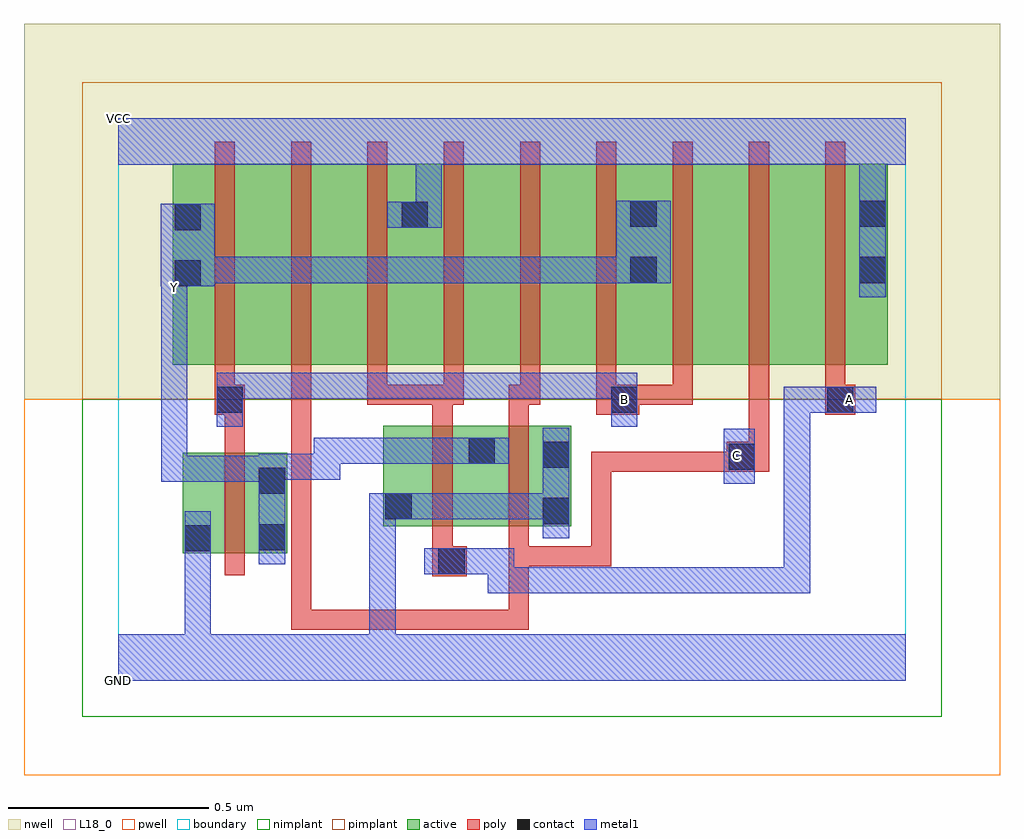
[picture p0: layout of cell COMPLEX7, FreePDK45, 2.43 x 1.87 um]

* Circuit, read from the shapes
.subckt COMPLEX7 A B C GND VCC Y
M1 Y B GND VSUBS nfet w=0.25u l=0.05u
M2 Y A GND VSUBS nfet w=0.25u l=0.05u
M3 GND C Y VSUBS nfet w=0.25u l=0.05u
M4 n1 B Y n2 pfet w=0.5u l=0.05u
M5 n3 C n1 n2 pfet w=0.5u l=0.05u
M6 VCC A n3 n2 pfet w=0.5u l=0.05u
M7 n4 A VCC n2 pfet w=0.5u l=0.05u
M8 n5 C n4 n2 pfet w=0.5u l=0.05u
M9 Y B n5 n2 pfet w=0.5u l=0.05u
M10 n6 B Y n2 pfet w=0.5u l=0.05u
M11 n7 C n6 n2 pfet w=0.5u l=0.05u
M12 VCC A n7 n2 pfet w=0.5u l=0.05u
.ends

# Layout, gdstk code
import gdstk
lib = gdstk.Library(unit=1e-6, precision=1e-09)
def R(c, l, rs):  # rectangles x0, y0, x1, y1
    for r in rs: c.add(gdstk.rectangle(r[:2], r[2:], *l))
def A(c, l, x, y, w, h, nx, ny, dx, dy):  # array of equal rectangles
    R(c, l, [(x+i*dx, y+j*dy, x+i*dx+w, y+j*dy+h) for i in range(nx) for j in range(ny)])
active = (1, 0)
pwell = (2, 0)
nwell = (3, 0)
nimplant = (4, 0)
pimplant = (5, 0)
poly = (9, 0)
contact = (10, 0)
metal1 = (11, 0)
L18_0 = (18, 0)
boundary = (235, 0)

complex7 = lib.new_cell('COMPLEX7')
A(complex7, active, 0.36, 0.787, 0.19, 0.5, 3, 1, 0.57, 0)
A(complex7, active, 0.55, 0.787, 0.225, 0.5, 3, 1, 0.57, 0)
R(complex7, active, [(0.16,0.317,0.235,0.567), (0.16,0.317,0.42,0.567), (0.345,0.32,0.42,0.567), (0.66,0.385,0.735,0.635), (0.66,0.385,0.942,0.635), (0.867,0.385,1.127,0.635), (1.052,0.385,1.127,0.635), (0.867,0.395,0.942,0.61), (0.135,0.787,0.36,1.287), (0.135,0.787,0.24,1.2), (0.7,0.787,0.93,1.287), (1.27,0.787,1.5,1.287), (1.84,0.787,1.915,1.255), (0.7,0.807,0.775,1.255), (1.27,0.807,1.345,1.2)])
R(complex7, pwell, [(-0.235,-0.235,2.195,0.7)])
R(complex7, nwell, [(-0.235,0.7,2.195,1.635)])
R(complex7, nimplant, [(-0.09,-0.09,2.05,0.7)])
R(complex7, pimplant, [(-0.09,0.7,2.05,1.49)])
A(complex7, poly, 0.24, 0.687, 0.05, 0.095, 7, 1, 0.19, 0)
A(complex7, poly, 0.24, 0.732, 0.05, 0.61, 9, 1, 0.19, 0)
R(complex7, poly, [(0.43,0.127,0.48,0.737), (0.43,0.127,0.48,0.177), (0.43,0.127,0.48,0.177), (0.43,0.127,0.48,0.177), (0.43,0.127,0.612,0.177), (0.562,0.127,0.612,0.177), (0.562,0.127,0.612,0.177), (0.562,0.127,0.612,0.177), (0.562,0.127,0.89,0.177), (0.84,0.127,0.89,0.177), (0.84,0.127,0.89,0.177), (0.84,0.127,0.89,0.177), (0.84,0.127,1.022,0.177), (0.972,0.127,1.022,0.177), (0.972,0.127,1.022,0.335), (0.782,0.26,0.867,0.335), (0.265,0.262,0.315,0.622), (0.782,0.285,0.832,0.38), (0.972,0.285,1.022,0.38), (0.972,0.285,1.022,0.335), (0.972,0.285,1.022,0.335), (0.972,0.285,1.022,0.335), (0.972,0.285,1.227,0.335), (1.177,0.285,1.227,0.335), (1.177,0.285,1.227,0.57), (0.782,0.33,0.832,0.69), (0.972,0.33,1.022,0.69), (1.177,0.52,1.227,0.57), (1.177,0.52,1.227,0.57), (1.177,0.52,1.227,0.57), (1.177,0.52,1.432,0.57), (1.382,0.52,1.432,0.57), (1.382,0.52,1.565,0.57), (1.515,0.52,1.565,0.57), (1.515,0.52,1.565,0.57), (1.515,0.52,1.565,0.57), (1.515,0.52,1.565,0.57), (1.515,0.52,1.565,0.57), (1.515,0.52,1.565,0.57), (1.515,0.52,1.62,0.595), (1.57,0.545,1.62,0.782), (0.265,0.572,0.315,0.712), (0.782,0.64,0.832,0.737), (0.972,0.64,1.022,0.737), (0.24,0.662,0.315,0.737), (1.19,0.662,1.297,0.737), (1.76,0.662,1.835,0.737), (0.43,0.687,0.48,0.737), (0.43,0.687,0.48,0.737), (0.43,0.687,0.48,0.737), (0.43,0.687,0.48,0.737), (0.43,0.687,0.48,0.737), (0.43,0.687,0.48,0.737), (0.43,0.687,0.48,0.737), (0.62,0.687,0.67,0.737), (0.62,0.687,0.67,0.737), (0.62,0.687,0.67,0.737), (0.62,0.687,0.832,0.737), (0.782,0.687,0.86,0.737), (0.972,0.687,1.05,0.737), (1.247,0.687,1.43,0.737), (1.38,0.687,1.43,0.737), (1.38,0.687,1.43,0.737), (1.38,0.687,1.43,0.737), (1.76,0.687,1.81,0.782)])
R(complex7, contact, [(0.797,0.265,0.862,0.33), (0.165,0.322,0.23,0.387), (0.35,0.325,0.415,0.39), (1.057,0.39,1.122,0.455), (0.665,0.402,0.73,0.467), (0.35,0.465,0.415,0.53), (1.52,0.525,1.585,0.59), (1.057,0.53,1.122,0.595), (0.872,0.54,0.937,0.605), (0.245,0.667,0.31,0.732), (1.227,0.667,1.292,0.732), (1.765,0.667,1.83,0.732), (0.14,0.982,0.205,1.047), (1.275,0.99,1.34,1.055), (1.845,0.99,1.91,1.055), (0.14,1.122,0.205,1.187), (0.705,1.127,0.77,1.192), (1.275,1.13,1.34,1.195), (1.845,1.13,1.91,1.195)])
R(complex7, metal1, [(0,0,1.96,0.115), (0.165,0.05,0.23,0.115), (0.165,0.05,0.23,0.115), (0.165,0.05,0.23,0.115), (0.165,0.05,0.23,0.115), (0.165,0.05,0.23,0.115), (0.165,0.05,0.23,0.115), (0.165,0.05,0.23,0.352), (0.625,0.05,0.69,0.115), (0.625,0.05,0.69,0.115), (0.625,0.05,0.69,0.467), (0.92,0.217,1.155,0.282), (0.92,0.217,0.985,0.33), (1.09,0.217,1.155,0.282), (1.09,0.217,1.155,0.282), (1.09,0.217,1.155,0.282), (1.09,0.217,1.297,0.282), (1.232,0.217,1.297,0.282), (1.232,0.217,1.435,0.282), (1.37,0.217,1.435,0.282), (1.37,0.217,1.435,0.282), (1.37,0.217,1.435,0.282), (1.37,0.217,1.435,0.282), (1.37,0.217,1.435,0.282), (1.37,0.217,1.435,0.282), (1.37,0.217,1.435,0.282), (1.37,0.217,1.572,0.282), (1.507,0.217,1.572,0.282), (1.507,0.217,1.572,0.282), (1.507,0.217,1.572,0.282), (1.507,0.217,1.722,0.282), (1.657,0.217,1.722,0.732), (1.657,0.217,1.722,0.282), (0.762,0.265,0.897,0.33), (0.832,0.265,0.985,0.33), (0.165,0.287,0.23,0.422), (0.35,0.29,0.415,0.565), (1.057,0.355,1.122,0.63), (0.625,0.402,0.69,0.467), (0.625,0.402,0.69,0.467), (0.625,0.402,0.69,0.467), (0.625,0.402,0.69,0.467), (0.625,0.402,0.765,0.467), (0.7,0.402,0.985,0.467), (0.92,0.402,0.985,0.467), (0.92,0.402,0.985,0.467), (0.92,0.402,0.985,0.467), (0.92,0.402,1.122,0.467), (1.057,0.402,1.122,0.467), (1.057,0.402,1.122,0.467), (1.507,0.49,1.585,0.627), (0.107,0.495,0.172,0.56), (0.107,0.495,0.415,0.56), (0.107,0.495,0.172,0.977), (0.35,0.495,0.415,0.56), (0.35,0.495,0.415,0.56), (0.35,0.5,0.552,0.565), (0.487,0.5,0.552,0.605), (0.487,0.54,0.552,0.605), (0.487,0.54,0.552,0.605), (0.487,0.54,0.69,0.605), (0.625,0.54,0.69,0.605), (0.625,0.54,0.69,0.605), (0.625,0.54,0.69,0.605), (0.625,0.54,0.902,0.605), (0.837,0.54,0.902,0.605), (0.837,0.54,0.902,0.605), (0.837,0.54,0.972,0.605), (0.245,0.632,0.31,0.767), (1.227,0.632,1.292,0.767), (1.657,0.667,1.795,0.732), (1.657,0.667,1.722,0.732), (1.73,0.667,1.887,0.732), (0.245,0.702,0.415,0.767), (0.35,0.702,0.415,0.767), (0.35,0.702,0.552,0.767), (0.487,0.702,0.552,0.767), (0.487,0.702,0.552,0.767), (0.487,0.702,0.552,0.767), (0.487,0.702,0.69,0.767), (0.625,0.702,0.69,0.767), (0.625,0.702,0.69,0.767), (0.625,0.702,0.69,0.767), (0.625,0.702,0.985,0.767), (0.92,0.702,0.985,0.767), (0.92,0.702,0.985,0.767), (0.92,0.702,0.985,0.767), (0.92,0.702,1.155,0.767), (1.09,0.702,1.155,0.767), (1.09,0.702,1.155,0.767), (1.09,0.702,1.155,0.767), (1.09,0.702,1.292,0.767), (0.107,0.912,0.172,1.047), (1.845,0.955,1.91,1.23), (0.105,0.982,0.24,1.187), (0.107,0.982,0.172,1.047), (0.175,0.99,0.377,1.055), (0.312,0.99,0.377,1.055), (0.312,0.99,0.377,1.055), (0.312,0.99,0.377,1.055), (0.312,0.99,0.552,1.055), (0.487,0.99,0.552,1.055), (0.487,0.99,0.552,1.055), (0.487,0.99,0.552,1.055), (0.487,0.99,0.69,1.055), (0.625,0.99,0.69,1.055), (0.625,0.99,0.69,1.055), (0.625,0.99,0.69,1.055), (0.625,0.99,0.935,1.055), (0.87,0.99,0.935,1.055), (0.87,0.99,0.935,1.055), (0.87,0.99,0.935,1.055), (0.87,0.99,1.155,1.055), (1.09,0.99,1.155,1.055), (1.09,0.99,1.155,1.055), (1.09,0.99,1.155,1.055), (1.09,0.99,1.297,1.055), (1.232,0.99,1.297,1.055), (1.232,0.99,1.305,1.055), (1.24,0.99,1.375,1.195), (0.67,1.127,0.805,1.192), (0.74,1.127,0.805,1.35), (1.845,1.165,1.91,1.35), (0,1.285,1.96,1.4)])
R(complex7, L18_0, [(0,0,1.96,0.115), (0.165,0.05,0.23,0.115), (0.165,0.05,0.23,0.115), (0.165,0.05,0.23,0.115), (0.165,0.05,0.23,0.115), (0.165,0.05,0.23,0.115), (0.165,0.05,0.23,0.115), (0.165,0.05,0.23,0.352), (0.625,0.05,0.69,0.115), (0.625,0.05,0.69,0.115), (0.625,0.05,0.69,0.467), (0.92,0.217,0.985,0.33), (0.92,0.217,1.155,0.282), (1.09,0.217,1.155,0.282), (1.09,0.217,1.155,0.282), (1.09,0.217,1.155,0.282), (1.09,0.217,1.297,0.282), (1.232,0.217,1.297,0.282), (1.232,0.217,1.435,0.282), (1.37,0.217,1.435,0.282), (1.37,0.217,1.435,0.282), (1.37,0.217,1.435,0.282), (1.37,0.217,1.435,0.282), (1.37,0.217,1.435,0.282), (1.37,0.217,1.435,0.282), (1.37,0.217,1.435,0.282), (1.37,0.217,1.572,0.282), (1.507,0.217,1.572,0.282), (1.507,0.217,1.572,0.282), (1.507,0.217,1.572,0.282), (1.507,0.217,1.722,0.282), (1.657,0.217,1.722,0.282), (1.657,0.217,1.722,0.732), (0.762,0.265,0.897,0.33), (0.832,0.265,0.985,0.33), (0.165,0.287,0.23,0.422), (0.35,0.29,0.415,0.565), (1.057,0.355,1.122,0.63), (0.625,0.402,0.69,0.467), (0.625,0.402,0.69,0.467), (0.625,0.402,0.69,0.467), (0.625,0.402,0.69,0.467), (0.625,0.402,0.765,0.467), (0.7,0.402,0.985,0.467), (0.92,0.402,0.985,0.467), (0.92,0.402,0.985,0.467), (0.92,0.402,0.985,0.467), (0.92,0.402,1.122,0.467), (1.057,0.402,1.122,0.467), (1.057,0.402,1.122,0.467), (1.507,0.49,1.585,0.627), (0.107,0.495,0.172,0.56), (0.107,0.495,0.172,0.977), (0.107,0.495,0.415,0.56), (0.35,0.495,0.415,0.56), (0.35,0.495,0.415,0.56), (0.35,0.5,0.552,0.565), (0.487,0.5,0.552,0.605), (1.507,0.527,1.572,0.592), (0.487,0.54,0.552,0.605), (0.487,0.54,0.552,0.605), (0.487,0.54,0.69,0.605), (0.625,0.54,0.69,0.605), (0.625,0.54,0.69,0.605), (0.625,0.54,0.69,0.605), (0.625,0.54,0.902,0.605), (0.837,0.54,0.902,0.605), (0.837,0.54,0.902,0.605), (0.837,0.54,0.972,0.605), (0.245,0.632,0.31,0.767), (1.227,0.632,1.292,0.767), (1.227,0.667,1.292,0.732), (1.657,0.667,1.722,0.732), (1.657,0.667,1.795,0.732), (1.73,0.667,1.887,0.732), (1.787,0.667,1.852,0.732), (0.245,0.702,0.415,0.767), (0.35,0.702,0.415,0.767), (0.35,0.702,0.552,0.767), (0.487,0.702,0.552,0.767), (0.487,0.702,0.552,0.767), (0.487,0.702,0.552,0.767), (0.487,0.702,0.69,0.767), (0.625,0.702,0.69,0.767), (0.625,0.702,0.69,0.767), (0.625,0.702,0.69,0.767), (0.625,0.702,0.985,0.767), (0.92,0.702,0.985,0.767), (0.92,0.702,0.985,0.767), (0.92,0.702,0.985,0.767), (0.92,0.702,1.155,0.767), (1.09,0.702,1.155,0.767), (1.09,0.702,1.155,0.767), (1.09,0.702,1.155,0.767), (1.09,0.702,1.292,0.767), (0.107,0.912,0.172,1.047), (0.107,0.947,0.172,1.012), (1.845,0.955,1.91,1.23), (0.105,0.982,0.24,1.187), (0.107,0.982,0.172,1.047), (0.175,0.99,0.377,1.055), (0.312,0.99,0.377,1.055), (0.312,0.99,0.377,1.055), (0.312,0.99,0.377,1.055), (0.312,0.99,0.552,1.055), (0.487,0.99,0.552,1.055), (0.487,0.99,0.552,1.055), (0.487,0.99,0.552,1.055), (0.487,0.99,0.69,1.055), (0.625,0.99,0.69,1.055), (0.625,0.99,0.69,1.055), (0.625,0.99,0.69,1.055), (0.625,0.99,0.935,1.055), (0.87,0.99,0.935,1.055), (0.87,0.99,0.935,1.055), (0.87,0.99,0.935,1.055), (0.87,0.99,1.155,1.055), (1.09,0.99,1.155,1.055), (1.09,0.99,1.155,1.055), (1.09,0.99,1.155,1.055), (1.09,0.99,1.297,1.055), (1.232,0.99,1.297,1.055), (1.232,0.99,1.305,1.055), (1.24,0.99,1.375,1.195), (0.67,1.127,0.805,1.192), (0.74,1.127,0.805,1.35), (1.845,1.165,1.91,1.35), (0,1.285,1.96,1.4)])
R(complex7, boundary, [(0,0,1.96,1.4)])
complex7.add(gdstk.Label('A', (1.82,0.7), layer=11, texttype=0))
complex7.add(gdstk.Label('B', (1.26,0.7), layer=11, texttype=0))
complex7.add(gdstk.Label('C', (1.54,0.56), layer=11, texttype=0))
complex7.add(gdstk.Label('Y', (0.14,0.98), layer=11, texttype=0))
complex7.add(gdstk.Label('VCC', (0,1.4), layer=11, texttype=0))
complex7.add(gdstk.Label('GND', (0,0), layer=11, texttype=0))

lib.write_gds('COMPLEX7.gds')
